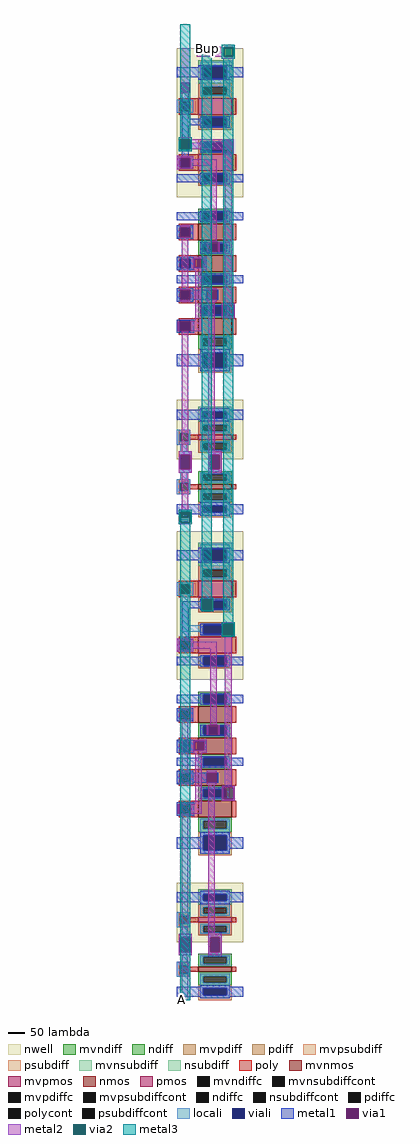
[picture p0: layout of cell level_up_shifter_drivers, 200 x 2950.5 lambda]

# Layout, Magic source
magic
tech TECHNAME
magscale 1 2
<< nwell >>
rect 272 5540 332 5592
rect 12 5320 72 5388
<< metal1 >>
rect 12 5382 72 5388
rect 12 5326 14 5382
rect 70 5326 72 5382
rect 12 5320 72 5326
rect 20 5100 64 5320
rect 206 2200 208 2262
<< via1 >>
rect 14 5326 70 5382
rect 146 2200 206 2262
<< metal2 >>
rect 264 5602 342 5614
rect 112 5600 342 5602
rect 12 5382 72 5592
rect 112 5542 274 5600
rect 332 5542 342 5600
rect 264 5530 342 5542
rect 12 5326 14 5382
rect 70 5326 72 5382
rect 12 5320 72 5326
rect 2 5042 82 5054
rect 2 4982 12 5042
rect 72 4982 336 5042
rect 2 4970 82 4982
rect 2 2790 82 2804
rect 2 2726 12 2790
rect 72 2726 82 2790
rect 2 2716 82 2726
rect 138 2262 212 2272
rect 138 2200 146 2262
rect 206 2200 212 2262
rect 138 2190 212 2200
rect 22 -161 62 -63
<< via2 >>
rect 274 5542 332 5600
rect 12 4982 72 5042
rect 12 2726 72 2790
rect 146 2200 206 2262
rect 272 2044 332 2114
<< metal3 >>
rect 12 5054 72 5740
rect 2 5042 82 5054
rect 2 4982 12 5042
rect 72 4982 82 5042
rect 2 4970 82 4982
rect 2 2790 82 2804
rect 2 2726 12 2790
rect 72 2726 82 2790
rect 2 2716 82 2726
rect 12 -161 72 2716
rect 142 2272 202 5612
rect 264 5600 342 5614
rect 264 5542 274 5600
rect 332 5542 342 5600
rect 264 5530 342 5542
rect 138 2262 212 2272
rect 138 2200 146 2262
rect 206 2200 212 2262
rect 138 2190 212 2200
rect 272 2124 332 5530
rect 262 2114 342 2124
rect 262 2044 272 2114
rect 332 2044 342 2114
rect 262 2034 342 2044
use level_up_shifter  level_up_shifter_0
transform 1 0 2 0 1 2674
box -10 -2835 390 0
use level_up_shifter  level_up_shifter_1
transform 1 0 2 0 1 5592
box -10 -2835 390 0
<< labels >>
rlabel metal3 174 5592 174 5592 1 Bup
rlabel metal2 136 5592 136 5592 1 Bupb
rlabel metal3 54 5592 54 5592 1 Aupb
rlabel metal2 40 5592 40 5592 1 Aup
rlabel metal3 20 -156 20 -156 7 A
rlabel metal2 42 -156 42 -156 7 B
<< end >>

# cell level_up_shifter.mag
magic
tech TECHNAME
magscale 1 2
<< nwell >>
rect -10 -900 390 0
rect -10 -2485 390 -2125
<< nmos >>
rect 120 -2665 320 -2635
<< pmos >>
rect 120 -2365 320 -2335
<< mvnmos >>
rect 120 -1160 320 -1060
rect 120 -1350 320 -1250
rect 120 -1540 320 -1440
rect 120 -1730 320 -1630
<< mvpmos >>
rect 120 -400 320 -300
rect 120 -740 320 -640
<< ndiff >>
rect 120 -2575 320 -2555
rect 120 -2615 150 -2575
rect 290 -2615 320 -2575
rect 120 -2635 320 -2615
rect 120 -2690 320 -2665
rect 120 -2730 150 -2690
rect 290 -2730 320 -2690
rect 120 -2745 320 -2730
<< pdiff >>
rect 120 -2275 320 -2255
rect 120 -2315 150 -2275
rect 290 -2315 320 -2275
rect 120 -2335 320 -2315
rect 120 -2385 320 -2365
rect 120 -2425 150 -2385
rect 290 -2425 320 -2385
rect 120 -2445 320 -2425
<< mvndiff >>
rect 120 -990 320 -970
rect 120 -1040 150 -990
rect 290 -1040 320 -990
rect 120 -1060 320 -1040
rect 120 -1180 320 -1160
rect 120 -1230 150 -1180
rect 290 -1230 320 -1180
rect 120 -1250 320 -1230
rect 120 -1370 320 -1350
rect 120 -1420 150 -1370
rect 290 -1420 320 -1370
rect 120 -1440 320 -1420
rect 120 -1560 320 -1540
rect 120 -1610 150 -1560
rect 290 -1610 320 -1560
rect 120 -1630 320 -1610
rect 120 -1750 320 -1730
rect 120 -1800 150 -1750
rect 290 -1800 320 -1750
rect 120 -1820 320 -1800
<< mvpdiff >>
rect 120 -230 320 -210
rect 120 -280 150 -230
rect 290 -280 320 -230
rect 120 -300 320 -280
rect 120 -420 320 -400
rect 120 -470 150 -420
rect 290 -470 320 -420
rect 120 -490 320 -470
rect 120 -570 320 -550
rect 120 -620 150 -570
rect 290 -620 320 -570
rect 120 -640 320 -620
rect 120 -760 320 -740
rect 120 -810 150 -760
rect 290 -810 320 -760
rect 120 -830 320 -810
<< ndiffc >>
rect 150 -2615 290 -2575
rect 150 -2730 290 -2690
<< pdiffc >>
rect 150 -2315 290 -2275
rect 150 -2425 290 -2385
<< mvndiffc >>
rect 150 -1040 290 -990
rect 150 -1230 290 -1180
rect 150 -1420 290 -1370
rect 150 -1610 290 -1560
rect 150 -1800 290 -1750
<< mvpdiffc >>
rect 150 -280 290 -230
rect 150 -470 290 -420
rect 150 -620 290 -570
rect 150 -810 290 -760
<< psubdiff >>
rect 120 -2765 320 -2745
rect 120 -2805 150 -2765
rect 290 -2805 320 -2765
rect 120 -2835 320 -2805
<< nsubdiff >>
rect 120 -2195 320 -2165
rect 120 -2235 150 -2195
rect 290 -2235 320 -2195
rect 120 -2255 320 -2235
<< mvpsubdiff >>
rect 120 -1840 320 -1820
rect 120 -1930 150 -1840
rect 290 -1930 320 -1840
rect 120 -1960 320 -1930
<< mvnsubdiff >>
rect 120 -110 320 -70
rect 120 -180 150 -110
rect 290 -180 320 -110
rect 120 -210 320 -180
<< psubdiffcont >>
rect 150 -2805 290 -2765
<< nsubdiffcont >>
rect 150 -2235 290 -2195
<< mvpsubdiffcont >>
rect 150 -1930 290 -1840
<< mvnsubdiffcont >>
rect 150 -180 290 -110
<< poly >>
rect 0 -320 120 -300
rect 0 -380 10 -320
rect 70 -380 120 -320
rect 0 -400 120 -380
rect 320 -400 350 -300
rect 0 -660 120 -640
rect 0 -720 10 -660
rect 70 -720 120 -660
rect 0 -740 120 -720
rect 320 -740 350 -640
rect 0 -1080 120 -1060
rect 0 -1140 10 -1080
rect 70 -1140 120 -1080
rect 0 -1160 120 -1140
rect 320 -1160 350 -1060
rect 0 -1270 120 -1250
rect 0 -1330 10 -1270
rect 70 -1330 120 -1270
rect 0 -1350 120 -1330
rect 320 -1350 350 -1250
rect 0 -1460 120 -1440
rect 0 -1520 10 -1460
rect 70 -1520 120 -1460
rect 0 -1540 120 -1520
rect 320 -1540 350 -1440
rect 0 -1650 120 -1630
rect 0 -1710 10 -1650
rect 70 -1710 120 -1650
rect 0 -1730 120 -1710
rect 320 -1730 350 -1630
rect 0 -2325 70 -2305
rect 0 -2375 10 -2325
rect 60 -2335 70 -2325
rect 60 -2365 120 -2335
rect 320 -2365 350 -2335
rect 60 -2375 70 -2365
rect 0 -2395 70 -2375
rect 0 -2625 70 -2605
rect 0 -2675 10 -2625
rect 60 -2635 70 -2625
rect 60 -2665 120 -2635
rect 320 -2665 350 -2635
rect 60 -2675 70 -2665
rect 0 -2695 70 -2675
<< polycont >>
rect 10 -380 70 -320
rect 10 -720 70 -660
rect 10 -1140 70 -1080
rect 10 -1330 70 -1270
rect 10 -1520 70 -1460
rect 10 -1710 70 -1650
rect 10 -2375 60 -2325
rect 10 -2675 60 -2625
<< locali >>
rect 130 -110 310 -80
rect 130 -180 150 -110
rect 290 -180 310 -110
rect 130 -230 310 -180
rect 130 -280 150 -230
rect 290 -280 310 -230
rect 130 -290 310 -280
rect -10 -320 90 -310
rect -10 -380 10 -320
rect 70 -380 90 -320
rect -10 -390 90 -380
rect 20 -570 60 -390
rect 130 -420 310 -410
rect 130 -470 150 -420
rect 290 -470 310 -420
rect 130 -480 310 -470
rect 130 -570 310 -560
rect 20 -610 150 -570
rect 130 -620 150 -610
rect 290 -620 310 -570
rect 130 -630 310 -620
rect -10 -660 90 -650
rect -10 -720 10 -660
rect 70 -720 90 -660
rect -10 -730 90 -720
rect 130 -760 310 -750
rect 130 -810 150 -760
rect 290 -810 310 -760
rect 130 -820 310 -810
rect 130 -990 310 -980
rect 130 -1040 150 -990
rect 290 -1040 310 -990
rect 130 -1050 310 -1040
rect -10 -1080 90 -1070
rect -10 -1140 10 -1080
rect 70 -1140 90 -1080
rect -10 -1150 90 -1140
rect 130 -1180 310 -1170
rect 130 -1230 150 -1180
rect 290 -1230 310 -1180
rect 130 -1240 310 -1230
rect -10 -1270 95 -1260
rect -10 -1330 10 -1270
rect 70 -1330 95 -1270
rect -10 -1340 95 -1330
rect 130 -1370 310 -1360
rect 130 -1420 150 -1370
rect 290 -1420 310 -1370
rect 130 -1430 310 -1420
rect -10 -1460 90 -1450
rect -10 -1520 10 -1460
rect 70 -1520 90 -1460
rect -10 -1530 90 -1520
rect 130 -1560 310 -1550
rect 130 -1610 150 -1560
rect 290 -1610 310 -1560
rect 130 -1620 310 -1610
rect -10 -1650 95 -1640
rect -10 -1710 10 -1650
rect 70 -1710 95 -1650
rect -10 -1720 95 -1710
rect 130 -1750 310 -1740
rect 130 -1800 150 -1750
rect 290 -1800 310 -1750
rect 130 -1840 310 -1800
rect 130 -1930 150 -1840
rect 290 -1930 310 -1840
rect 130 -1950 310 -1930
rect 130 -2195 310 -2175
rect 130 -2235 150 -2195
rect 290 -2235 310 -2195
rect 130 -2275 310 -2235
rect -10 -2325 70 -2305
rect 130 -2315 150 -2275
rect 290 -2315 310 -2275
rect 130 -2325 310 -2315
rect -10 -2375 10 -2325
rect 60 -2375 70 -2325
rect -10 -2395 70 -2375
rect 130 -2385 310 -2375
rect 10 -2435 50 -2395
rect 130 -2425 150 -2385
rect 290 -2425 310 -2385
rect 130 -2435 310 -2425
rect 0 -2455 80 -2435
rect 0 -2545 10 -2455
rect 70 -2545 80 -2455
rect 0 -2565 80 -2545
rect 180 -2455 260 -2435
rect 180 -2545 190 -2455
rect 250 -2545 260 -2455
rect 180 -2565 260 -2545
rect 10 -2605 50 -2565
rect 130 -2575 310 -2565
rect -10 -2625 70 -2605
rect 130 -2615 150 -2575
rect 290 -2615 310 -2575
rect 130 -2625 310 -2615
rect -10 -2675 10 -2625
rect 60 -2675 70 -2625
rect -10 -2695 70 -2675
rect 130 -2690 310 -2675
rect 130 -2730 150 -2690
rect 290 -2730 310 -2690
rect 130 -2765 310 -2730
rect 130 -2805 150 -2765
rect 290 -2805 310 -2765
rect 130 -2825 310 -2805
<< viali >>
rect 150 -180 290 -110
rect 150 -470 290 -420
rect 150 -620 290 -570
rect 10 -720 70 -660
rect 150 -810 290 -760
rect 150 -1040 290 -990
rect 10 -1140 70 -1080
rect 150 -1230 290 -1180
rect 10 -1330 70 -1270
rect 150 -1420 290 -1370
rect 10 -1520 70 -1460
rect 150 -1610 290 -1560
rect 10 -1710 70 -1650
rect 150 -1930 290 -1840
rect 150 -2235 290 -2195
rect 10 -2545 70 -2455
rect 190 -2545 250 -2455
rect 150 -2805 290 -2765
<< metal1 >>
rect 120 -110 320 -100
rect 120 -115 150 -110
rect -10 -175 150 -115
rect 120 -180 150 -175
rect 290 -115 320 -110
rect 290 -175 390 -115
rect 290 -180 310 -175
rect 120 -190 310 -180
rect 130 -420 310 -410
rect 130 -425 150 -420
rect 18 -465 150 -425
rect 18 -650 62 -465
rect 130 -470 150 -465
rect 290 -470 310 -420
rect 130 -480 310 -470
rect 265 -560 335 -550
rect 130 -570 270 -560
rect 130 -620 150 -570
rect 130 -630 270 -620
rect 330 -630 335 -560
rect 265 -640 335 -630
rect -10 -660 90 -650
rect -10 -720 10 -660
rect 70 -720 90 -660
rect -10 -730 90 -720
rect 130 -760 310 -750
rect -10 -810 150 -760
rect 290 -810 390 -760
rect 130 -820 310 -810
rect 130 -990 310 -980
rect -10 -1040 150 -990
rect 290 -1040 390 -990
rect 130 -1050 310 -1040
rect -10 -1080 90 -1070
rect -10 -1140 10 -1080
rect 70 -1140 90 -1080
rect -10 -1150 90 -1140
rect 130 -1180 180 -1170
rect 240 -1180 310 -1170
rect 130 -1230 150 -1180
rect 290 -1230 310 -1180
rect 130 -1240 310 -1230
rect -10 -1270 95 -1260
rect -10 -1330 10 -1270
rect 70 -1325 95 -1270
rect 156 -1325 166 -1272
rect 70 -1326 166 -1325
rect 70 -1330 95 -1326
rect -10 -1340 95 -1330
rect 130 -1370 310 -1360
rect -10 -1420 150 -1370
rect 290 -1420 390 -1370
rect 130 -1430 310 -1420
rect -10 -1460 90 -1450
rect -10 -1520 10 -1460
rect 70 -1520 170 -1460
rect 230 -1520 240 -1460
rect -10 -1530 90 -1520
rect 270 -1550 340 -1540
rect 130 -1560 270 -1550
rect 130 -1610 150 -1560
rect 130 -1620 270 -1610
rect 330 -1620 340 -1550
rect 270 -1630 340 -1620
rect -10 -1650 95 -1640
rect -10 -1710 5 -1650
rect 75 -1710 95 -1650
rect -10 -1720 95 -1710
rect 130 -1840 310 -1820
rect 130 -1850 150 -1840
rect -10 -1920 150 -1850
rect 130 -1930 150 -1920
rect 290 -1850 310 -1840
rect 290 -1920 390 -1850
rect 290 -1930 310 -1920
rect 130 -1950 310 -1930
rect 130 -2185 310 -2175
rect -10 -2195 390 -2185
rect -10 -2235 150 -2195
rect 290 -2235 390 -2195
rect -10 -2245 390 -2235
rect 130 -2255 310 -2245
rect 0 -2455 80 -2435
rect 0 -2545 10 -2455
rect 70 -2545 80 -2455
rect 0 -2565 80 -2545
rect 180 -2455 260 -2425
rect 180 -2545 190 -2455
rect 250 -2545 260 -2455
rect 180 -2575 260 -2545
rect 130 -2755 310 -2745
rect -10 -2765 390 -2755
rect -10 -2805 150 -2765
rect 290 -2805 390 -2765
rect -10 -2815 390 -2805
rect 130 -2825 310 -2815
<< via1 >>
rect 270 -570 330 -560
rect 270 -620 290 -570
rect 290 -620 330 -570
rect 270 -630 330 -620
rect 10 -720 70 -660
rect 10 -1140 70 -1080
rect 180 -1180 240 -1170
rect 180 -1230 240 -1180
rect 95 -1325 156 -1272
rect 10 -1520 70 -1460
rect 170 -1520 230 -1460
rect 270 -1560 330 -1550
rect 270 -1610 290 -1560
rect 290 -1610 330 -1560
rect 270 -1620 330 -1610
rect 5 -1710 10 -1650
rect 10 -1710 70 -1650
rect 70 -1710 75 -1650
rect 10 -2545 70 -2455
rect 190 -2545 250 -2455
<< metal2 >>
rect 265 -560 335 -550
rect 265 -630 270 -560
rect 330 -630 335 -560
rect 265 -640 335 -630
rect -10 -660 90 -650
rect -10 -720 10 -660
rect 70 -670 90 -660
rect 70 -710 230 -670
rect 70 -720 90 -710
rect -10 -730 90 -720
rect 10 -1080 70 -1070
rect 10 -1150 70 -1140
rect 20 -1450 60 -1150
rect 190 -1170 230 -710
rect 170 -1230 180 -1170
rect 240 -1230 250 -1170
rect 90 -1272 170 -1260
rect 90 -1325 95 -1272
rect 156 -1325 170 -1272
rect 90 -1340 170 -1325
rect 10 -1460 70 -1450
rect 10 -1530 70 -1520
rect 100 -1650 140 -1340
rect 170 -1460 230 -1450
rect 170 -1530 230 -1520
rect -5 -1710 5 -1650
rect 75 -1710 140 -1650
rect 20 -2435 60 -1710
rect 180 -2435 220 -1530
rect 280 -1540 320 -640
rect 260 -1550 340 -1540
rect 260 -1620 270 -1550
rect 330 -1620 340 -1550
rect 260 -1630 340 -1620
rect 0 -2455 80 -2435
rect 0 -2545 10 -2455
rect 70 -2545 80 -2455
rect 0 -2565 80 -2545
rect 180 -2455 260 -2435
rect 180 -2545 190 -2455
rect 250 -2545 260 -2455
rect 180 -2565 260 -2545
rect 20 -2835 60 -2565
<< labels >>
rlabel metal1 -10 -150 -10 -150 7 vdda1
port 4 w
rlabel metal1 -10 -1020 -10 -1020 7 vssd1
port 3 w
rlabel metal1 -10 -786 -10 -786 7 vdda1
rlabel metal1 -10 -1396 -10 -1396 7 vdda1
rlabel metal1 -10 -1886 -10 -1886 7 vssd1
rlabel polycont 40 -350 40 -350 1 outb
port 5 n
rlabel viali 220 -444 220 -444 1 out
port 6 n
rlabel metal1 390 -2791 390 -2791 7 vssd1
rlabel metal1 390 -2215 390 -2215 7 vccd1
port 2 w
rlabel metal1 -10 -2791 -10 -2791 7 vssd1
rlabel metal2 40 -2835 40 -2835 5 in
port 1 s
rlabel metal1 -10 -2215 -10 -2215 7 vccd1
port 2 w
<< end >>
